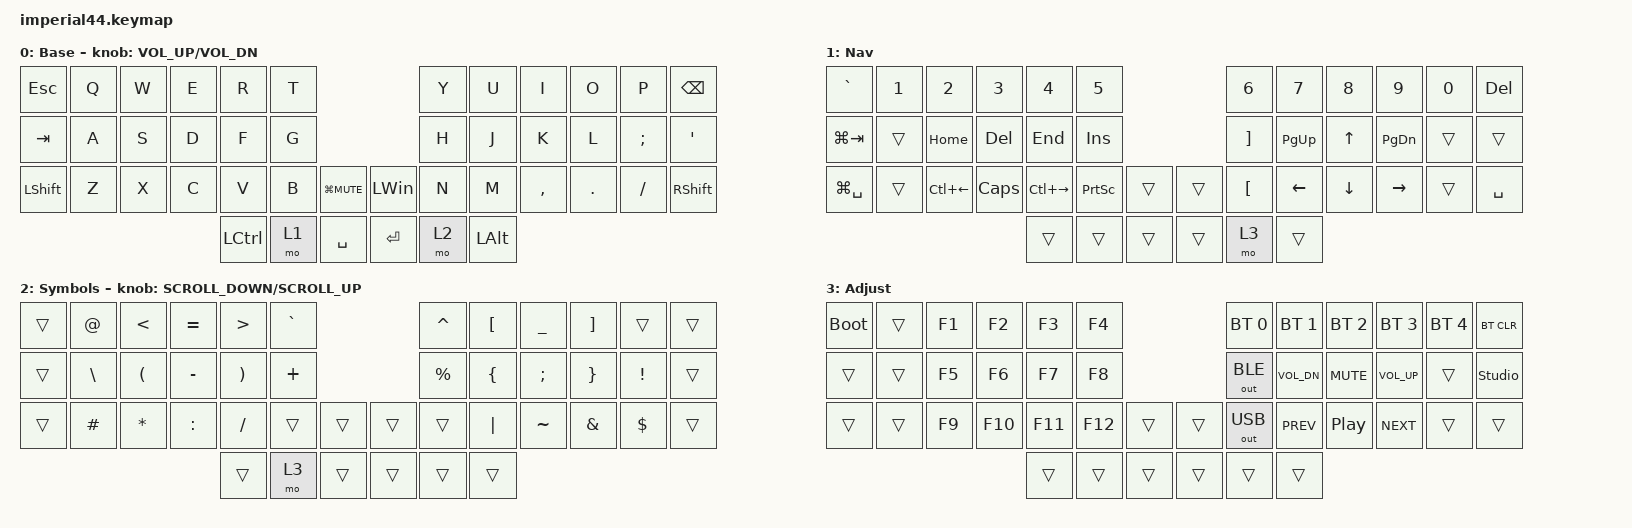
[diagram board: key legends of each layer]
#include "keys_ru.h"
#include <behaviors.dtsi>
#include <dt-bindings/zmk/bt.h>
#include <dt-bindings/zmk/keys.h>
#include <dt-bindings/zmk/outputs.h>

/ {
    keymap {
        compatible = "zmk,keymap";

        base {
            bindings = <
&kp ESC    &kp Q  &kp W  &kp E  &kp R      &kp T                                  &kp Y  &kp U     &kp I      &kp O    &kp P     &kp BACKSPACE
&kp TAB    &kp A  &kp S  &kp D  &kp F      &kp G                                  &kp H  &kp J     &kp K      &kp L    &kp SEMI  &kp SQT
&kp LSHFT  &kp Z  &kp X  &kp C  &kp V      &kp B  &kp LG(C_MUTE)    &kp LEFT_WIN  &kp N  &kp M     &kp COMMA  &kp DOT  &kp FSLH  &kp RSHFT
                                &kp LCTRL  &mo 1  &kp SPACE         &kp ENTER     &mo 2  &kp LALT
            >;

            display-name = "Base";
            sensor-bindings = <&inc_dec_kp C_VOL_UP C_VOL_DN>;
        };

        nav {
            bindings = <
&kp GRAVE      &kp N1  &kp N2              &kp N3      &kp N4               &kp N5                             &kp N6             &kp N7          &kp N8          &kp N9           &kp N0  &kp DELETE
&kp LG(TAB)    &trans  &kp HOME            &kp DELETE  &kp END              &kp INSERT                         &kp RIGHT_BRACKET  &kp PAGE_UP     &kp UP_ARROW    &kp PAGE_DOWN    &trans  &trans
&kp LG(SPACE)  &trans  &kp LC(LEFT_ARROW)  &kp CLCK    &kp LC(RIGHT_ARROW)  &kp PRINTSCREEN  &trans    &trans  &kp LEFT_BRACKET   &kp LEFT_ARROW  &kp DOWN_ARROW  &kp RIGHT_ARROW  &trans  &kp SPACE
                                                       &trans               &trans           &trans    &trans  &mo 3              &trans
            >;

            display-name = "Nav";
        };

        sym {
            bindings = <
&trans  &kp AT    &kp LT    &kp EQUAL  &kp GT    &kp GRAVE                    &kp CARET  &kp LBKT  &kp UNDER  &kp RBKT  &trans    &trans
&trans  &kp BSLH  &kp LPAR  &kp MINUS  &kp RPAR  &kp PLUS                     &kp PRCNT  &kp LBRC  &kp SEMI   &kp RBRC  &kp EXCL  &trans
&trans  &kp HASH  &kp STAR  &kp COLON  &kp FSLH  &trans     &trans    &trans  &trans     &kp PIPE  &kp TILDE  &kp AMPS  &kp DLLR  &trans
                                       &trans    &mo 3      &trans    &trans  &trans     &trans
            >;

            display-name = "Symbols";
            sensor-bindings = <&inc_dec_kp K_SCROLL_DOWN K_SCROLL_UP>;
        };

        adj {
            bindings = <
&bootloader  &trans  &kp F1  &kp F2   &kp F3   &kp F4                     &bt BT_SEL 0  &bt BT_SEL 1  &bt BT_SEL 2  &bt BT_SEL 3  &bt BT_SEL 4  &bt BT_CLR
&trans       &trans  &kp F5  &kp F6   &kp F7   &kp F8                     &out OUT_BLE  &kp C_VOL_DN  &kp K_MUTE    &kp C_VOL_UP  &trans        &studio_unlock
&trans       &trans  &kp F9  &kp F10  &kp F11  &kp F12  &trans    &trans  &out OUT_USB  &kp C_PREV    &kp C_PP      &kp C_NEXT    &trans        &trans
                                      &trans   &trans   &trans    &trans  &trans        &trans
            >;

            display-name = "Adjust";
        };
    };
};
